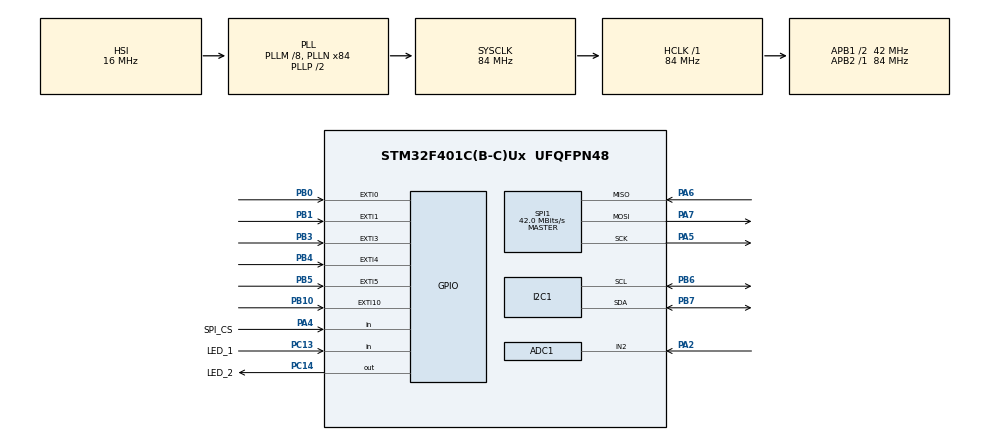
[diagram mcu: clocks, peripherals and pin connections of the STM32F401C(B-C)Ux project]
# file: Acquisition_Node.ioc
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ADC1.Channel-2\#ChannelRegularConversion=ADC_CHANNEL_2
ADC1.ContinuousConvMode=ENABLE
ADC1.DMAContinuousRequests=ENABLE
ADC1.NbrOfConversionFlag=1
ADC1.Rank-2\#ChannelRegularConversion=1
ADC1.SamplingTime-2\#ChannelRegularConversion=ADC_SAMPLETIME_480CYCLES
ADC1.ScanConvMode=DISABLE
ADC1.master=1
Dma.ADC1.0.Direction=DMA_PERIPH_TO_MEMORY
Dma.ADC1.0.FIFOMode=DMA_FIFOMODE_DISABLE
Dma.ADC1.0.Instance=DMA2_Stream0
Dma.ADC1.0.MemDataAlignment=DMA_MDATAALIGN_HALFWORD
Dma.ADC1.0.MemInc=DMA_MINC_ENABLE
Dma.ADC1.0.Mode=DMA_CIRCULAR
Dma.ADC1.0.PeriphDataAlignment=DMA_PDATAALIGN_HALFWORD
Dma.ADC1.0.PeriphInc=DMA_PINC_DISABLE
Dma.ADC1.0.Priority=DMA_PRIORITY_LOW
Dma.Request0=ADC1
Mcu.Family=STM32F4
Mcu.Name=STM32F401C(B-C)Ux
Mcu.Package=UFQFPN48
NVIC.DMA2_Stream0_IRQn=true\:0\:0\:false\:false\:true\:false\:true\:true
NVIC.EXTI0_IRQn=true\:0\:0\:false\:false\:true\:true\:true\:true
NVIC.EXTI15_10_IRQn=true\:0\:0\:false\:false\:true\:true\:true\:true
NVIC.EXTI1_IRQn=true\:0\:0\:false\:false\:true\:true\:true\:true
NVIC.EXTI3_IRQn=true\:0\:0\:false\:false\:true\:true\:true\:true
NVIC.EXTI4_IRQn=true\:0\:0\:false\:false\:true\:true\:true\:true
NVIC.EXTI9_5_IRQn=true\:0\:0\:false\:false\:true\:true\:true\:true
NVIC.PriorityGroup=NVIC_PRIORITYGROUP_4
PA2.Signal=ADCx_IN2
PA4.GPIO_Label=SPI_CS
PA4.Signal=GPIO_Input
PA5.Mode=Full_Duplex_Master
PA5.Signal=SPI1_SCK
PA6.Mode=Full_Duplex_Master
PA6.Signal=SPI1_MISO
PA7.Mode=Full_Duplex_Master
PA7.Signal=SPI1_MOSI
PB0.GPIO_ModeDefaultEXTI=GPIO_MODE_IT_FALLING
PB0.GPIO_PuPd=GPIO_PULLUP
PB0.Signal=GPXTI0
PB1.GPIO_ModeDefaultEXTI=GPIO_MODE_IT_FALLING
PB1.GPIO_PuPd=GPIO_PULLUP
PB1.Signal=GPXTI1
PB10.GPIO_ModeDefaultEXTI=GPIO_MODE_IT_FALLING
PB10.GPIO_PuPd=GPIO_PULLUP
PB10.Signal=GPXTI10
PB3.GPIO_ModeDefaultEXTI=GPIO_MODE_IT_FALLING
PB3.GPIO_PuPd=GPIO_PULLUP
PB3.Signal=GPXTI3
PB4.GPIO_ModeDefaultEXTI=GPIO_MODE_IT_FALLING
PB4.GPIO_PuPd=GPIO_PULLUP
PB4.Signal=GPXTI4
PB5.GPIO_ModeDefaultEXTI=GPIO_MODE_IT_FALLING
PB5.GPIO_PuPd=GPIO_PULLUP
PB5.Signal=GPXTI5
PB6.Mode=I2C
PB6.Signal=I2C1_SCL
PB7.Mode=I2C
PB7.Signal=I2C1_SDA
PC13-ANTI_TAMP.GPIO_Label=LED_1
PC13-ANTI_TAMP.Signal=GPIO_Input
PC14-OSC32_IN.GPIO_Label=LED_2
PC14-OSC32_IN.Signal=GPIO_Output
ProjectManager.HeapSize=0x200
ProjectManager.StackSize=0x400
ProjectManager.TargetToolchain=STM32CubeIDE
RCC.48MHZClocksFreq_Value=42000000
RCC.AHBFreq_Value=84000000
RCC.APB1CLKDivider=RCC_HCLK_DIV2
RCC.APB1Freq_Value=42000000
RCC.APB1TimFreq_Value=84000000
RCC.APB2Freq_Value=84000000
RCC.APB2TimFreq_Value=84000000
RCC.CortexFreq_Value=84000000
RCC.HCLKFreq_Value=84000000
RCC.HSE_VALUE=25000000
RCC.HSI_VALUE=16000000
RCC.LSE_VALUE=32768
RCC.PLLM=8
RCC.PLLN=84
RCC.SYSCLKFreq_VALUE=84000000
RCC.SYSCLKSource=RCC_SYSCLKSOURCE_PLLCLK
RCC.VCOOutputFreq_Value=168000000
SH.ADCx_IN2.0=ADC1_IN2,IN2
SPI1.CalculateBaudRate=42.0 MBits/s
SPI1.Direction=SPI_DIRECTION_2LINES
SPI1.Mode=SPI_MODE_MASTER
SPI1.VirtualType=VM_MASTER
board=custom

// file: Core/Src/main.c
/* USER CODE BEGIN Header */
/**
  ******************************************************************************
  * @file           : main.c
  * @brief          : Main program body
  ******************************************************************************
  * @attention
  *
  * Copyright (c) 2025 STMicroelectronics.
  * All rights reserved.
  *
  * This software is licensed under terms that can be found in the LICENSE file
  * in the root directory of this software component.
  * If no LICENSE file comes with this software, it is provided AS-IS.
  *
  ******************************************************************************
  */
/* USER CODE END Header */
#include "main.h"

/* USER CODE BEGIN Includes */
#include "i2c-lcd.h"
#include "mpu6050.h"
#include <stdio.h>
#include <math.h>
#include <string.h>
#include "mcp2515.h"
/* USER CODE END Includes */

/* USER CODE BEGIN PD */
#define NUM_ADC_CHANNELS 1

// --- MPU6050 Health Check Defines ---
#define MPU6050_I2C_ADDR (0x68 << 1) // MPU6050 7-bit address, left-shifted for HAL
#define MPU6050_WHO_AM_I_REG 0x75    // WHO_AM_I register address
#define MPU6050_WHO_AM_I_VAL 0x68    // Expected value from WHO_AM_I register

/* USER CODE END PD */

ADC_HandleTypeDef hadc1;
DMA_HandleTypeDef hdma_adc1;

I2C_HandleTypeDef hi2c1;

SPI_HandleTypeDef hspi1;

/* USER CODE BEGIN PV */
// HAL will populate this buffer with ADC results:
uint16_t pot_value;

MPU6050_Data mpu_data;

volatile uint8_t can_buttons[6] = {0, 0, 0, 0, 0, 0};
// Variables for button de-bouncing
#define DEBOUNCE_TIME_MS 200 // 200ms de-bounce delay
static volatile uint32_t last_press_time[6] = {0};

CAN_TxHeaderTypeDef can_tx_header;
uint8_t can_tx_data[8]; //8-byte payload

/* USER CODE END PV */

void SystemClock_Config(void);
static void MX_GPIO_Init(void);
static void MX_DMA_Init(void);
static void MX_ADC1_Init(void);
static void MX_I2C1_Init(void);
static void MX_SPI1_Init(void);
/* USER CODE BEGIN PFP */

void IMU_Init(void){
	MPU6050_Init(&hi2c1);

	uint8_t who_am_i_val = 0;
	HAL_StatusTypeDef ret = HAL_I2C_Mem_Read(&hi2c1, MPU6050_I2C_ADDR,
											 MPU6050_WHO_AM_I_REG, 1,
											 &who_am_i_val, 1, HAL_MAX_DELAY);
	lcd_clear();
	if (ret != HAL_OK)
	{
		// I2C communication failed (device did not ACK)
		lcd_send_string("I2C Comm Failed");
		while(1);
	}

	// 2. Check if the device is the correct one
	if (who_am_i_val != MPU6050_WHO_AM_I_VAL)
	{
		// Got a response, but it's not the MPU6050
		lcd_send_string("MPU6050 not found");
		while(1);
	}

	lcd_send_string("MPU6050 OK");
	HAL_Delay(1000);
}

void MCP_Init(void){

	  // --- Initialize MCP2515 ---
	  lcd_clear();
	  //8MHz crystal on MCP2515 board and 500kbps bus speed
	   if (MCP2515_Init(&hspi1, SPI_CS_GPIO_Port, SPI_CS_Pin, 8, 500) == MCP2515_OK)
	   {
	       lcd_put_cur(0, 0);
	       lcd_send_string("MCP2515 OK      ");
	   }
	   else
	   {
	       lcd_put_cur(0, 0);
	       lcd_send_string("MCP2515 FAIL    ");
	       while (1); // Halt on error
	   }
	   HAL_Delay(1000);

}

void get_IMU(void){
	MPU6050_Read_All(&hi2c1, &mpu_data);
}

/* USER CODE END PFP */

int main(void)
{

  /* MCU Configuration--------------------------------------------------------*/

  /* Reset of all peripherals, Initializes the Flash interface and the Systick. */
  HAL_Init();

  /* Configure the system clock */
  SystemClock_Config();

  /* Initialize all configured peripherals */
  MX_GPIO_Init();
  MX_DMA_Init();
  MX_ADC1_Init();
  MX_I2C1_Init();
  MX_SPI1_Init();
  /* USER CODE BEGIN 2 */

  HAL_NVIC_DisableIRQ(DMA2_Stream0_IRQn);

  lcd_init(&hi2c1);
  lcd_put_cur(0, 0); // Set cursor to first row, first column
  lcd_send_string("Initializing...");

  IMU_Init();

  MCP_Init();

  HAL_ADC_Start_DMA(&hadc1, (uint32_t *)&pot_value, NUM_ADC_CHANNELS);

  /* USER CODE END 2 */

  /* Infinite loop */
  /* USER CODE BEGIN WHILE */
  lcd_clear();
  while (1)
  {
	  // --- 1. Get All Sensor Data ---
	        get_IMU(); // Updates global 'mpu_data'
	                   // Button states are updated by EXTI callback in 'can_buttons'

	        // --- 2. Prepare and Send POT/Button Packet (CAN ID 0x100) ---

	        // Map pot to 0-100, then scale to 0-255 for one byte
	        uint8_t mapped_pot = ((int32_t)pot_value * 255) / 4095;

	        // Pack 6 buttons into one byte (Bit 0 = Btn 0, Bit 1 = Btn 1, etc.)
	        uint8_t button_byte = 0;
	        for (int i = 0; i < 6; i++)
	        {
	            if (can_buttons[i])
	            {
	                button_byte |= (1 << i);
	            }
	        }

	        can_tx_header.StdId = 0x100;     // Standard CAN ID
	        can_tx_header.IDE = CAN_ID_STD;  // Standard ID type
	        can_tx_header.RTR = CAN_RTR_DATA;// Data frame
	        can_tx_header.DLC = 2;           // 2 bytes of data
	        can_tx_data[0] = mapped_pot;     // Data byte 0
	        can_tx_data[1] = button_byte;    // Data byte 1

	        MCP2515_SendMessage(&can_tx_header, can_tx_data);

	        HAL_Delay(10); // Short delay between packets

	        // --- 3. Prepare and Send IMU Accel Packet (CAN ID 0x101) ---

	        // Convert floats to int16_t (multiplied by 100 for 2 decimal places)
	        // e.g., 1.23g becomes 123
	        int16_t ax = (int16_t)(mpu_data.Ax * 100.0f);
	        int16_t ay = (int16_t)(mpu_data.Ay * 100.0f);
	        int16_t az = (int16_t)(mpu_data.Az * 100.0f);

	        can_tx_header.StdId = 0x101;
	        can_tx_header.DLC = 6; // 6 bytes (2 bytes per axis)

	        // Pack int16_t into two uint8_t (Big-Endian)
	        can_tx_data[0] = (ax >> 8) & 0xFF;   // Accel X High Byte
	        can_tx_data[1] = ax & 0xFF;         // Accel X Low Byte
	        can_tx_data[2] = (ay >> 8) & 0xFF;   // Accel Y High Byte
	        can_tx_data[3] = ay & 0xFF;         // Accel Y Low Byte
	        can_tx_data[4] = (az >> 8) & 0xFF;   // Accel Z High Byte
	        can_tx_data[5] = az & 0xFF;         // Accel Z Low Byte

	        MCP2515_SendMessage(&can_tx_header, can_tx_data);

	        // --- 4. Update LCD Display ---
	        char lcd_buf_row0[20];
	        char lcd_buf_row1[20];

	        // We can use the string buffers for the LCD
	        sprintf(lcd_buf_row0, "P:%-3d B:%02X", mapped_pot, button_byte);
	        sprintf(lcd_buf_row1, "X:%.1f Y:%.1f Z:%0.1f", mpu_data.Ax, mpu_data.Ay, mpu_data.Az);

	        lcd_put_cur(0, 0);
	        lcd_send_string(lcd_buf_row0);
	        lcd_put_cur(1, 0);
	        lcd_send_string(lcd_buf_row1);

	        HAL_Delay(90); // Total loop time will be ~100ms
    /* USER CODE END WHILE */

  }
}

void SystemClock_Config(void)
{
  RCC_OscInitTypeDef RCC_OscInitStruct = {0};
  RCC_ClkInitTypeDef RCC_ClkInitStruct = {0};

  /** Configure the main internal regulator output voltage
  */
  __HAL_RCC_PWR_CLK_ENABLE();
  __HAL_PWR_VOLTAGESCALING_CONFIG(PWR_REGULATOR_VOLTAGE_SCALE2);

  /** Initializes the RCC Oscillators according to the specified parameters
  * in the RCC_OscInitTypeDef structure.
  */
  RCC_OscInitStruct.OscillatorType = RCC_OSCILLATORTYPE_HSI;
  RCC_OscInitStruct.HSIState = RCC_HSI_ON;
  RCC_OscInitStruct.HSICalibrationValue = RCC_HSICALIBRATION_DEFAULT;
  RCC_OscInitStruct.PLL.PLLState = RCC_PLL_ON;
  RCC_OscInitStruct.PLL.PLLSource = RCC_PLLSOURCE_HSI;
  RCC_OscInitStruct.PLL.PLLM = 8;
  RCC_OscInitStruct.PLL.PLLN = 84;
  RCC_OscInitStruct.PLL.PLLP = RCC_PLLP_DIV2;
  RCC_OscInitStruct.PLL.PLLQ = 4;
  if (HAL_RCC_OscConfig(&RCC_OscInitStruct) != HAL_OK)
  {
    Error_Handler();
  }

  /** Initializes the CPU, AHB and APB buses clocks
  */
  RCC_ClkInitStruct.ClockType = RCC_CLOCKTYPE_HCLK|RCC_CLOCKTYPE_SYSCLK
                              |RCC_CLOCKTYPE_PCLK1|RCC_CLOCKTYPE_PCLK2;
  RCC_ClkInitStruct.SYSCLKSource = RCC_SYSCLKSOURCE_PLLCLK;
  RCC_ClkInitStruct.AHBCLKDivider = RCC_SYSCLK_DIV1;
  RCC_ClkInitStruct.APB1CLKDivider = RCC_HCLK_DIV2;
  RCC_ClkInitStruct.APB2CLKDivider = RCC_HCLK_DIV1;

  if (HAL_RCC_ClockConfig(&RCC_ClkInitStruct, FLASH_LATENCY_2) != HAL_OK)
  {
    Error_Handler();
  }
}

static void MX_ADC1_Init(void)
{

  ADC_ChannelConfTypeDef sConfig = {0};

  /** Configure the global features of the ADC (Clock, Resolution, Data Alignment and number of conversion)
  */
  hadc1.Instance = ADC1;
  hadc1.Init.ClockPrescaler = ADC_CLOCK_SYNC_PCLK_DIV4;
  hadc1.Init.Resolution = ADC_RESOLUTION_12B;
  hadc1.Init.ScanConvMode = DISABLE;
  hadc1.Init.ContinuousConvMode = ENABLE;
  hadc1.Init.DiscontinuousConvMode = DISABLE;
  hadc1.Init.ExternalTrigConvEdge = ADC_EXTERNALTRIGCONVEDGE_NONE;
  hadc1.Init.ExternalTrigConv = ADC_SOFTWARE_START;
  hadc1.Init.DataAlign = ADC_DATAALIGN_RIGHT;
  hadc1.Init.NbrOfConversion = 1;
  hadc1.Init.DMAContinuousRequests = ENABLE;
  hadc1.Init.EOCSelection = ADC_EOC_SINGLE_CONV;
  if (HAL_ADC_Init(&hadc1) != HAL_OK)
  {
    Error_Handler();
  }

  /** Configure for the selected ADC regular channel its corresponding rank in the sequencer and its sample time.
  */
  sConfig.Channel = ADC_CHANNEL_2;
  sConfig.Rank = 1;
  sConfig.SamplingTime = ADC_SAMPLETIME_480CYCLES;
  if (HAL_ADC_ConfigChannel(&hadc1, &sConfig) != HAL_OK)
  {
    Error_Handler();
  }

}

static void MX_I2C1_Init(void)
{

  hi2c1.Instance = I2C1;
  hi2c1.Init.ClockSpeed = 100000;
  hi2c1.Init.DutyCycle = I2C_DUTYCYCLE_2;
  hi2c1.Init.OwnAddress1 = 0;
  hi2c1.Init.AddressingMode = I2C_ADDRESSINGMODE_7BIT;
  hi2c1.Init.DualAddressMode = I2C_DUALADDRESS_DISABLE;
  hi2c1.Init.OwnAddress2 = 0;
  hi2c1.Init.GeneralCallMode = I2C_GENERALCALL_DISABLE;
  hi2c1.Init.NoStretchMode = I2C_NOSTRETCH_DISABLE;
  if (HAL_I2C_Init(&hi2c1) != HAL_OK)
  {
    Error_Handler();
  }

}

static void MX_SPI1_Init(void)
{

  /* SPI1 parameter configuration*/
  hspi1.Instance = SPI1;
  hspi1.Init.Mode = SPI_MODE_MASTER;
  hspi1.Init.Direction = SPI_DIRECTION_2LINES;
  hspi1.Init.DataSize = SPI_DATASIZE_8BIT;
  hspi1.Init.CLKPolarity = SPI_POLARITY_LOW;
  hspi1.Init.CLKPhase = SPI_PHASE_1EDGE;
  hspi1.Init.NSS = SPI_NSS_SOFT;
  hspi1.Init.BaudRatePrescaler = SPI_BAUDRATEPRESCALER_2;
  hspi1.Init.FirstBit = SPI_FIRSTBIT_MSB;
  hspi1.Init.TIMode = SPI_TIMODE_DISABLE;
  hspi1.Init.CRCCalculation = SPI_CRCCALCULATION_DISABLE;
  hspi1.Init.CRCPolynomial = 10;
  if (HAL_SPI_Init(&hspi1) != HAL_OK)
  {
    Error_Handler();
  }

}

static void MX_DMA_Init(void)
{

  /* DMA controller clock enable */
  __HAL_RCC_DMA2_CLK_ENABLE();

  /* DMA interrupt init */
  /* DMA2_Stream0_IRQn interrupt configuration */
  HAL_NVIC_SetPriority(DMA2_Stream0_IRQn, 0, 0);
  HAL_NVIC_EnableIRQ(DMA2_Stream0_IRQn);

}

static void MX_GPIO_Init(void)
{
  GPIO_InitTypeDef GPIO_InitStruct = {0};

  /* GPIO Ports Clock Enable */
  __HAL_RCC_GPIOC_CLK_ENABLE();
  __HAL_RCC_GPIOA_CLK_ENABLE();
  __HAL_RCC_GPIOB_CLK_ENABLE();

  /*Configure GPIO pin Output Level */
  HAL_GPIO_WritePin(LED_2_GPIO_Port, LED_2_Pin, GPIO_PIN_RESET);

  /*Configure GPIO pin Output Level */
  HAL_GPIO_WritePin(SPI_CS_GPIO_Port, SPI_CS_Pin, GPIO_PIN_RESET);

  /*Configure GPIO pin : LED_1_Pin */
  GPIO_InitStruct.Pin = LED_1_Pin;
  GPIO_InitStruct.Mode = GPIO_MODE_INPUT;
  GPIO_InitStruct.Pull = GPIO_NOPULL;
  HAL_GPIO_Init(LED_1_GPIO_Port, &GPIO_InitStruct);

  /*Configure GPIO pin : LED_2_Pin */
  GPIO_InitStruct.Pin = LED_2_Pin;
  GPIO_InitStruct.Mode = GPIO_MODE_OUTPUT_PP;
  GPIO_InitStruct.Pull = GPIO_NOPULL;
  GPIO_InitStruct.Speed = GPIO_SPEED_FREQ_LOW;
  HAL_GPIO_Init(LED_2_GPIO_Port, &GPIO_InitStruct);

  /*Configure GPIO pin : SPI_CS_Pin */
  GPIO_InitStruct.Pin = SPI_CS_Pin;
  GPIO_InitStruct.Mode = GPIO_MODE_OUTPUT_PP;
  GPIO_InitStruct.Pull = GPIO_NOPULL;
  GPIO_InitStruct.Speed = GPIO_SPEED_FREQ_LOW;
  HAL_GPIO_Init(SPI_CS_GPIO_Port, &GPIO_InitStruct);

  /*Configure GPIO pins : PB0 PB1 PB10 PB3
                           PB4 PB5 */
  GPIO_InitStruct.Pin = GPIO_PIN_0|GPIO_PIN_1|GPIO_PIN_10|GPIO_PIN_3
                          |GPIO_PIN_4|GPIO_PIN_5;
  GPIO_InitStruct.Mode = GPIO_MODE_IT_FALLING;
  GPIO_InitStruct.Pull = GPIO_PULLUP;
  HAL_GPIO_Init(GPIOB, &GPIO_InitStruct);

  /* EXTI interrupt init*/
  HAL_NVIC_SetPriority(EXTI0_IRQn, 0, 0);
  HAL_NVIC_EnableIRQ(EXTI0_IRQn);

  HAL_NVIC_SetPriority(EXTI1_IRQn, 0, 0);
  HAL_NVIC_EnableIRQ(EXTI1_IRQn);

  HAL_NVIC_SetPriority(EXTI3_IRQn, 0, 0);
  HAL_NVIC_EnableIRQ(EXTI3_IRQn);

  HAL_NVIC_SetPriority(EXTI4_IRQn, 0, 0);
  HAL_NVIC_EnableIRQ(EXTI4_IRQn);

  HAL_NVIC_SetPriority(EXTI9_5_IRQn, 0, 0);
  HAL_NVIC_EnableIRQ(EXTI9_5_IRQn);

  HAL_NVIC_SetPriority(EXTI15_10_IRQn, 0, 0);
  HAL_NVIC_EnableIRQ(EXTI15_10_IRQn);

}

/* USER CODE BEGIN 4 */

void HAL_GPIO_EXTI_Callback(uint16_t GPIO_Pin)
{
  uint32_t current_time = HAL_GetTick(); // Get current time in milliseconds

  switch (GPIO_Pin)
  {
    case GPIO_PIN_0:
      // Check if debounce time has passed for PB0
      if (current_time - last_press_time[0] > DEBOUNCE_TIME_MS)
      {
        can_buttons[0] ^= 1; // Toggle the value (0->1 or 1->0)
        last_press_time[0] = current_time; // Update the last press time
      }
      break;

    case GPIO_PIN_1:
      // Check if debounce time has passed for PB1
      if (current_time - last_press_time[1] > DEBOUNCE_TIME_MS)
      {
        can_buttons[1] ^= 1;
        last_press_time[1] = current_time;
      }
      break;

    case GPIO_PIN_10:
      // Check if debounce time has passed for PB2
      if (current_time - last_press_time[2] > DEBOUNCE_TIME_MS)
      {
        can_buttons[2] ^= 1;
        last_press_time[2] = current_time;
      }
      break;

    case GPIO_PIN_3:
      // Check if debounce time has passed for PB3
      if (current_time - last_press_time[3] > DEBOUNCE_TIME_MS)
      {
        can_buttons[3] ^= 1;
        last_press_time[3] = current_time;
      }
      break;

    case GPIO_PIN_4:
      // Check if debounce time has passed for PB4
      if (current_time - last_press_time[4] > DEBOUNCE_TIME_MS)
      {
        can_buttons[4] ^= 1;
        last_press_time[4] = current_time;
      }
      break;

    case GPIO_PIN_5:
      // Check if debounce time has passed for PB5
      if (current_time - last_press_time[5] > DEBOUNCE_TIME_MS)
      {
        can_buttons[5] ^= 1;
        last_press_time[5] = current_time;
      }
      break;

    default:
      // Unhandled interrupt
      __NOP(); // No Operation
      break;
  }
}

/* USER CODE END 4 */

void Error_Handler(void)
{
  __disable_irq();
  while (1)
  {
  }
}
